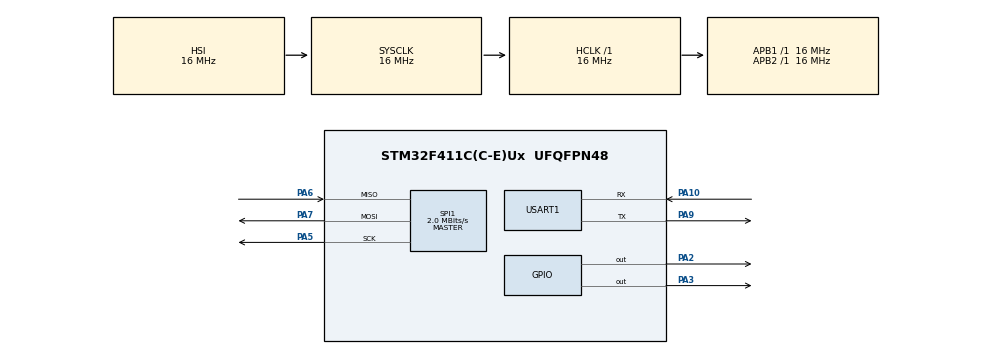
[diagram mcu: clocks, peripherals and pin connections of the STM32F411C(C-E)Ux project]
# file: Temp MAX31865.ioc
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Dma.Request0=USART1_RX
Dma.Request1=USART1_TX
Dma.USART1_RX.0.Direction=DMA_PERIPH_TO_MEMORY
Dma.USART1_RX.0.FIFOMode=DMA_FIFOMODE_DISABLE
Dma.USART1_RX.0.Instance=DMA2_Stream2
Dma.USART1_RX.0.MemDataAlignment=DMA_MDATAALIGN_BYTE
Dma.USART1_RX.0.MemInc=DMA_MINC_ENABLE
Dma.USART1_RX.0.Mode=DMA_NORMAL
Dma.USART1_RX.0.PeriphDataAlignment=DMA_PDATAALIGN_BYTE
Dma.USART1_RX.0.PeriphInc=DMA_PINC_DISABLE
Dma.USART1_RX.0.Priority=DMA_PRIORITY_LOW
Dma.USART1_TX.1.Direction=DMA_MEMORY_TO_PERIPH
Dma.USART1_TX.1.FIFOMode=DMA_FIFOMODE_DISABLE
Dma.USART1_TX.1.Instance=DMA2_Stream7
Dma.USART1_TX.1.MemDataAlignment=DMA_MDATAALIGN_BYTE
Dma.USART1_TX.1.MemInc=DMA_MINC_ENABLE
Dma.USART1_TX.1.Mode=DMA_NORMAL
Dma.USART1_TX.1.PeriphDataAlignment=DMA_PDATAALIGN_BYTE
Dma.USART1_TX.1.PeriphInc=DMA_PINC_DISABLE
Dma.USART1_TX.1.Priority=DMA_PRIORITY_LOW
Mcu.Family=STM32F4
Mcu.Name=STM32F411C(C-E)Ux
Mcu.Package=UFQFPN48
NVIC.DMA2_Stream2_IRQn=true\:0\:0\:false\:false\:true\:false\:true\:true
NVIC.DMA2_Stream7_IRQn=true\:0\:0\:false\:false\:true\:false\:true\:true
NVIC.PriorityGroup=NVIC_PRIORITYGROUP_4
NVIC.USART1_IRQn=true\:0\:0\:false\:false\:true\:true\:true\:true
PA10.Mode=Asynchronous
PA10.Signal=USART1_RX
PA2.Signal=GPIO_Output
PA3.Signal=GPIO_Output
PA5.Mode=Full_Duplex_Master
PA5.Signal=SPI1_SCK
PA6.Mode=Full_Duplex_Master
PA6.Signal=SPI1_MISO
PA7.Mode=Full_Duplex_Master
PA7.Signal=SPI1_MOSI
PA9.Mode=Asynchronous
PA9.Signal=USART1_TX
ProjectManager.HeapSize=0x200
ProjectManager.StackSize=0x400
ProjectManager.TargetToolchain=STM32CubeIDE
RCC.AHBFreq_Value=16000000
RCC.APB1Freq_Value=16000000
RCC.APB2Freq_Value=16000000
RCC.CortexFreq_Value=16000000
RCC.HSE_VALUE=25000000
RCC.HSI_VALUE=16000000
RCC.LSE_VALUE=32768
RCC.SYSCLKFreq_VALUE=16000000
RCC.VCOOutputFreq_Value=192000000
SPI1.BaudRatePrescaler=SPI_BAUDRATEPRESCALER_8
SPI1.CLKPhase=SPI_PHASE_1EDGE
SPI1.CLKPolarity=SPI_POLARITY_LOW
SPI1.CalculateBaudRate=2.0 MBits/s
SPI1.Direction=SPI_DIRECTION_2LINES
SPI1.Mode=SPI_MODE_MASTER
SPI1.VirtualType=VM_MASTER
USART1.VirtualMode=VM_ASYNC
board=custom

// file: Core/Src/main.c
/* USER CODE BEGIN Header */
	/**
	  ******************************************************************************
	  * @file           : main.c
	  * @brief          : Main program body
	  ******************************************************************************
	  * @attention
	  *
	  * Copyright (c) 2025 STMicroelectronics.
	  * All rights reserved.
	  *
	  * This software is licensed under terms that can be found in the LICENSE file
	  * in the root directory of this software component.
	  * If no LICENSE file comes with this software, it is provided AS-IS.
	  *
	  ******************************************************************************
	  */
/* USER CODE END Header */
#include "main.h"

/* USER CODE BEGIN Includes */
#include "MAX31865.h"
#include "UART.h"
/* USER CODE END Includes */

/* USER CODE BEGIN PTD */
extern FormatCommandUART TXData;
extern FormatCommandUART RXData;
/* USER CODE END PTD */

SPI_HandleTypeDef hspi1;

UART_HandleTypeDef huart1;
DMA_HandleTypeDef hdma_usart1_rx;
DMA_HandleTypeDef hdma_usart1_tx;

void SystemClock_Config(void);
static void MX_GPIO_Init(void);
static void MX_DMA_Init(void);
static void MX_SPI1_Init(void);
static void MX_USART1_UART_Init(void);
/* USER CODE BEGIN PFP */

MAX31865_t pt1000_1 = {
		.spi       = &hspi1,
		.cs_gpio   = GPIOA,
		.cs_pin    = GPIO_PIN_3,
		.num_wires = MAX31865_2_WIRE,      	// Options: MAX31865_2_WIRE, MAX31865_3_WIRE, MAX31865_4_WIRE
		.filter_hz = MAX31865_SAMPLE_50HZ,  // Options: MAX31865_SAMPLE_50HZ, MAX31865_SAMPLE_60HZ
		.RRef      = 4300, 					// Reference Resistor (Ohms)
		.SensorR   = 1098					// Nominal Resistance (PT1000)
	};

MAX31865_t pt1000_2 = {
		.spi       = &hspi1,
		.cs_gpio   = GPIOA,
		.cs_pin    = GPIO_PIN_2,
		.num_wires = MAX31865_2_WIRE,      // Options: MAX31865_2_WIRE, MAX31865_3_WIRE, MAX31865_4_WIRE
		.filter_hz = MAX31865_SAMPLE_50HZ,  // Options: MAX31865_SAMPLE_50HZ, MAX31865_SAMPLE_60HZ
		.RRef      = 4300, 					// Reference Resistor (Ohms)
		.SensorR   = 1098					// Nominal Resistance (PT1000)
	};

float pt1000Temp1;
float pt1000Temp2;

/* USER CODE END PFP */

/* USER CODE BEGIN 0 */
	void MarhalDataToSend(){

		uint32_t SensorTemp_1;
		uint32_t SensorTemp_2;
		uint8_t error;

		error = Max31865_ReadTempC(&pt1000_1, &pt1000Temp1);

		if (error != false){
			  memcpy(&SensorTemp_1, &pt1000Temp1, sizeof(float));
			  TXData.payload[0] = (SensorTemp_1 >> 0) & 0xFF;
			  TXData.payload[1] = (SensorTemp_1 >> 8) & 0xFF;
			  TXData.payload[2] = (SensorTemp_1 >> 16) & 0xFF;
			  TXData.payload[3] = (SensorTemp_1 >> 24) & 0xFF;
		  }

		error = Max31865_ReadTempC(&pt1000_2, &pt1000Temp2);

		if (error != false){
			  memcpy(&SensorTemp_2, &pt1000Temp2, sizeof(float));
			  TXData.payload[4] = (SensorTemp_2 >> 0) & 0xFF;
			  TXData.payload[5] = (SensorTemp_2 >> 8) & 0xFF;
			  TXData.payload[6] = (SensorTemp_2 >> 16) & 0xFF;
			  TXData.payload[7] = (SensorTemp_2 >> 24) & 0xFF;
		  }

	}

void InitStartByteTXData(){

	TXData.start_byte[0]=START_BYTE_ONE;
	TXData.start_byte[1]=START_BYTE_TWO;
	TXData.start_byte[2]=START_BYTE_TRE;
	TXData.start_byte[3]=START_BYTE_FOR;

}
/* USER CODE END 0 */

int main(void)
{

  /* MCU Configuration--------------------------------------------------------*/

  /* Reset of all peripherals, Initializes the Flash interface and the Systick. */
  HAL_Init();

  /* Configure the system clock */
  SystemClock_Config();

  /* Initialize all configured peripherals */
  MX_GPIO_Init();
  MX_DMA_Init();
  MX_SPI1_Init();
  MX_USART1_UART_Init();
  /* USER CODE BEGIN 2 */
  Max31865_Init(&pt1000_1);
  HAL_Delay(100);
  Max31865_Init(&pt1000_2);
  HAL_Delay(100);

  InitStartByteTXData();
  /* USER CODE END 2 */

  /* Infinite loop */
  while (1)
  {

    /* USER CODE BEGIN 3 */
	  StateProcess state = ReceiveData(&RXData);
	      if (state == STATE_OK && RXData.command == CMD_GET_DATA) {
	    	  MarhalDataToSend();
	    	  SendData(&TXData);
	      }
  }
  /* USER CODE END 3 */
}

void SystemClock_Config(void)
{
  RCC_OscInitTypeDef RCC_OscInitStruct = {0};
  RCC_ClkInitTypeDef RCC_ClkInitStruct = {0};

  /** Configure the main internal regulator output voltage
  */
  __HAL_RCC_PWR_CLK_ENABLE();
  __HAL_PWR_VOLTAGESCALING_CONFIG(PWR_REGULATOR_VOLTAGE_SCALE1);

  /** Initializes the RCC Oscillators according to the specified parameters
  * in the RCC_OscInitTypeDef structure.
  */
  RCC_OscInitStruct.OscillatorType = RCC_OSCILLATORTYPE_HSI;
  RCC_OscInitStruct.HSIState = RCC_HSI_ON;
  RCC_OscInitStruct.HSICalibrationValue = RCC_HSICALIBRATION_DEFAULT;
  RCC_OscInitStruct.PLL.PLLState = RCC_PLL_NONE;
  if (HAL_RCC_OscConfig(&RCC_OscInitStruct) != HAL_OK)
  {
    Error_Handler();
  }

  /** Initializes the CPU, AHB and APB buses clocks
  */
  RCC_ClkInitStruct.ClockType = RCC_CLOCKTYPE_HCLK|RCC_CLOCKTYPE_SYSCLK
                              |RCC_CLOCKTYPE_PCLK1|RCC_CLOCKTYPE_PCLK2;
  RCC_ClkInitStruct.SYSCLKSource = RCC_SYSCLKSOURCE_HSI;
  RCC_ClkInitStruct.AHBCLKDivider = RCC_SYSCLK_DIV1;
  RCC_ClkInitStruct.APB1CLKDivider = RCC_HCLK_DIV1;
  RCC_ClkInitStruct.APB2CLKDivider = RCC_HCLK_DIV1;

  if (HAL_RCC_ClockConfig(&RCC_ClkInitStruct, FLASH_LATENCY_0) != HAL_OK)
  {
    Error_Handler();
  }
}

static void MX_SPI1_Init(void)
{

  /* SPI1 parameter configuration*/
  hspi1.Instance = SPI1;
  hspi1.Init.Mode = SPI_MODE_MASTER;
  hspi1.Init.Direction = SPI_DIRECTION_2LINES;
  hspi1.Init.DataSize = SPI_DATASIZE_8BIT;
  hspi1.Init.CLKPolarity = SPI_POLARITY_LOW;
  hspi1.Init.CLKPhase = SPI_PHASE_1EDGE;
  hspi1.Init.NSS = SPI_NSS_SOFT;
  hspi1.Init.BaudRatePrescaler = SPI_BAUDRATEPRESCALER_8;
  hspi1.Init.FirstBit = SPI_FIRSTBIT_MSB;
  hspi1.Init.TIMode = SPI_TIMODE_DISABLE;
  hspi1.Init.CRCCalculation = SPI_CRCCALCULATION_DISABLE;
  hspi1.Init.CRCPolynomial = 10;
  if (HAL_SPI_Init(&hspi1) != HAL_OK)
  {
    Error_Handler();
  }

}

static void MX_USART1_UART_Init(void)
{

  huart1.Instance = USART1;
  huart1.Init.BaudRate = 115200;
  huart1.Init.WordLength = UART_WORDLENGTH_8B;
  huart1.Init.StopBits = UART_STOPBITS_1;
  huart1.Init.Parity = UART_PARITY_NONE;
  huart1.Init.Mode = UART_MODE_TX_RX;
  huart1.Init.HwFlowCtl = UART_HWCONTROL_NONE;
  huart1.Init.OverSampling = UART_OVERSAMPLING_16;
  if (HAL_UART_Init(&huart1) != HAL_OK)
  {
    Error_Handler();
  }

}

static void MX_DMA_Init(void)
{

  /* DMA controller clock enable */
  __HAL_RCC_DMA2_CLK_ENABLE();

  /* DMA interrupt init */
  /* DMA2_Stream2_IRQn interrupt configuration */
  HAL_NVIC_SetPriority(DMA2_Stream2_IRQn, 0, 0);
  HAL_NVIC_EnableIRQ(DMA2_Stream2_IRQn);
  /* DMA2_Stream7_IRQn interrupt configuration */
  HAL_NVIC_SetPriority(DMA2_Stream7_IRQn, 0, 0);
  HAL_NVIC_EnableIRQ(DMA2_Stream7_IRQn);

}

static void MX_GPIO_Init(void)
{
  GPIO_InitTypeDef GPIO_InitStruct = {0};

  /* GPIO Ports Clock Enable */
  __HAL_RCC_GPIOA_CLK_ENABLE();

  /*Configure GPIO pin Output Level */
  HAL_GPIO_WritePin(GPIOA, GPIO_PIN_2|GPIO_PIN_3, GPIO_PIN_RESET);

  /*Configure GPIO pins : PA2 PA3 */
  GPIO_InitStruct.Pin = GPIO_PIN_2|GPIO_PIN_3;
  GPIO_InitStruct.Mode = GPIO_MODE_OUTPUT_PP;
  GPIO_InitStruct.Pull = GPIO_NOPULL;
  GPIO_InitStruct.Speed = GPIO_SPEED_FREQ_LOW;
  HAL_GPIO_Init(GPIOA, &GPIO_InitStruct);

}

void Error_Handler(void)
{
  __disable_irq();
  while (1)
  {
  }
}
